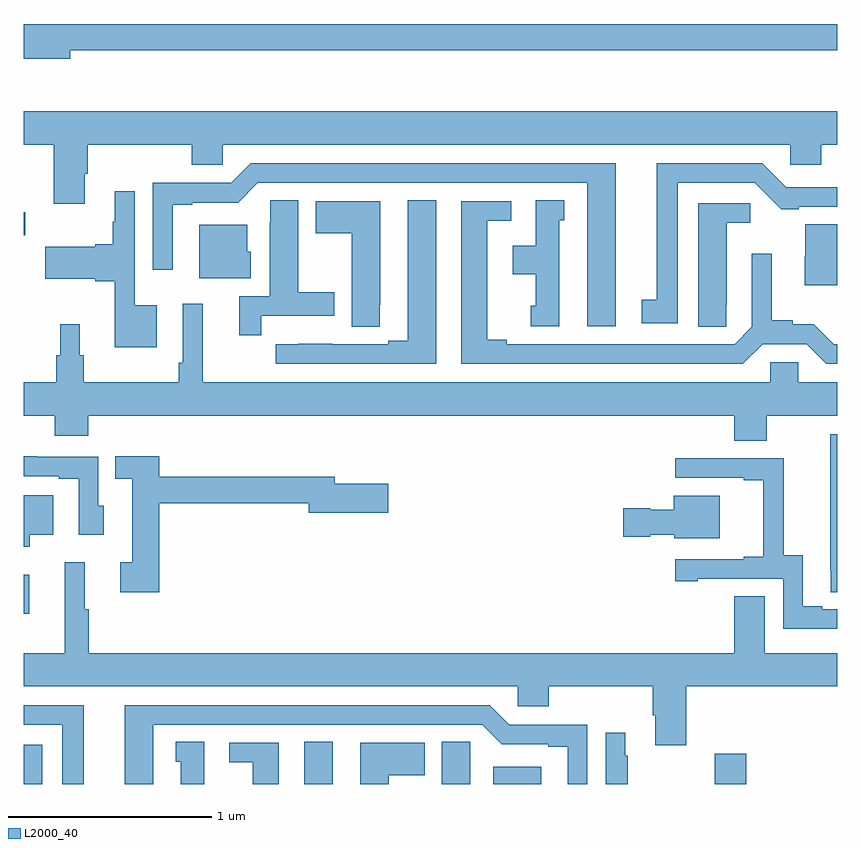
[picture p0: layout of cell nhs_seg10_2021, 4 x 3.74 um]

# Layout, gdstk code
import gdstk
lib = gdstk.Library(unit=1e-6, precision=1e-09)
def R(c, l, rs):  # rectangles x0, y0, x1, y1
    for r in rs: c.add(gdstk.rectangle(r[:2], r[2:], *l))
def P(c, l, *ps):  # polygons
    for p in ps: c.add(gdstk.Polygon(p, *l))
L2000_40 = (2000, 40)

nhs_seg10_2021 = lib.new_cell('nhs_seg10_2021')
R(nhs_seg10_2021, L2000_40, [(217,1302.5,217.09,1302.693), (218.378,1302.5,218.518,1302.707), (219.308,1302.5,219.544,1302.586), (220.399,1302.5,220.553,1302.649), (217,1303.338,217.027,1303.528), (217,1305.2,217.008,1305.313)])
P(nhs_seg10_2021, L2000_40, [(217.228,1306.11),(221,1306.11),(221,1306.238),(217,1306.238),(217,1306.067),(217.228,1306.067)],
  [(217.3,1305.502),(217.313,1305.502),(217.313,1305.644),(217.826,1305.644),(217.826,1305.546),(217.977,1305.546),(217.977,1305.644),(220.77,1305.644),(220.77,1305.546),(220.922,1305.546),(220.922,1305.644),(221,1305.644),(221,1305.808),(217,1305.808),(217,1305.644),(217.148,1305.644),(217.148,1305.354),(217.3,1305.354)],
  [(220.216,1305.456),(220.596,1305.456),(220.724,1305.328),(220.81,1305.328),(220.81,1305.339),(221,1305.339),(221,1305.435),(220.749,1305.435),(220.632,1305.552),(220.112,1305.552),(220.112,1304.882),(220.038,1304.882),(220.038,1304.766),(220.216,1304.766)],
  [(219.91,1305.552),(218.115,1305.552),(218.019,1305.456),(217.635,1305.456),(217.635,1305.03),(217.732,1305.03),(217.732,1305.348),(217.828,1305.348),(217.828,1305.36),(218.055,1305.36),(218.151,1305.456),(219.77,1305.456),(219.77,1304.751),(219.91,1304.751)],
  [(217.654,1304.854),(217.545,1304.854),(217.545,1305.415),(217.448,1305.415),(217.448,1305.266),(217.437,1305.266),(217.437,1305.155),(217.352,1305.155),(217.352,1305.142),(217.104,1305.142),(217.104,1304.984),(217.352,1304.984),(217.352,1304.972),(217.448,1304.972),(217.448,1304.648),(217.654,1304.648)],
  [(218.168,1304.802),(218.527,1304.802),(218.527,1304.919),(218.35,1304.919),(218.35,1305.371),(218.211,1305.371),(218.211,1305.26),(218.21,1305.26),(218.21,1304.898),(218.06,1304.898),(218.06,1304.706),(218.168,1304.706)],
  [(219.028,1305.371),(218.888,1305.371),(218.888,1304.679),(218.792,1304.679),(218.792,1304.664),(218.516,1304.664),(218.516,1304.665),(218.35,1304.665),(218.35,1304.664),(218.238,1304.664),(218.238,1304.568),(219.028,1304.568)],
  [(219.634,1305.273),(219.658,1305.273),(219.658,1305.371),(219.518,1305.371),(219.518,1305.148),(219.404,1305.148),(219.404,1305.008),(219.518,1305.008),(219.518,1304.853),(219.494,1304.853),(219.494,1304.751),(219.634,1304.751)],
  [(218.751,1304.857),(218.752,1304.857),(218.752,1305.367),(218.435,1305.367),(218.435,1305.208),(218.612,1305.208),(218.612,1304.749),(218.751,1304.749)],
  [(220.633,1304.664),(220.851,1304.664),(220.947,1304.568),(221,1304.568),(221,1304.664),(220.983,1304.664),(220.886,1304.762),(220.782,1304.762),(220.782,1304.78),(220.678,1304.78),(220.678,1305.109),(220.581,1305.109),(220.581,1304.748),(220.497,1304.664),(219.376,1304.664),(219.376,1304.684),(219.28,1304.684),(219.28,1305.27),(219.397,1305.27),(219.397,1305.366),(219.152,1305.366),(219.152,1304.568),(220.537,1304.568)],
  [(220.455,1304.857),(220.456,1304.857),(220.456,1305.26),(220.573,1305.26),(220.573,1305.357),(220.316,1305.357),(220.316,1304.749),(220.455,1304.749)],
  [(221,1305.254),(220.843,1305.254),(220.843,1305.096),(220.841,1305.096),(220.841,1304.952),(221,1304.952)],
  [(218.116,1305.117),(218.098,1305.117),(218.098,1305.25),(217.862,1305.25),(217.862,1304.987),(218.116,1304.987)],
  [(220.653,1304.312),(221,1304.312),(221,1304.476),(220.809,1304.476),(220.809,1304.574),(220.671,1304.574),(220.671,1304.476),(217.88,1304.476),(217.88,1304.863),(217.782,1304.863),(217.782,1304.572),(217.762,1304.572),(217.762,1304.476),(217.295,1304.476),(217.295,1304.61),(217.276,1304.61),(217.276,1304.761),(217.178,1304.761),(217.178,1304.61),(217.159,1304.61),(217.159,1304.476),(217,1304.476),(217,1304.312),(217.151,1304.312),(217.151,1304.213),(217.316,1304.213),(217.316,1304.312),(220.493,1304.312),(220.493,1304.188),(220.653,1304.188)],
  [(221,1304.22),(220.967,1304.22),(220.967,1303.552),(220.968,1303.552),(220.968,1303.444),(221,1303.444)],
  [(217.393,1303.869),(217.365,1303.869),(217.365,1304.109),(217.067,1304.109),(217.067,1304.111),(217,1304.111),(217,1304.013),(217.172,1304.013),(217.172,1304.001),(217.269,1304.001),(217.269,1303.725),(217.393,1303.725)],
  [(217.667,1303.882),(218.402,1303.882),(218.402,1303.835),(218.791,1303.835),(218.791,1303.977),(218.53,1303.977),(218.53,1304.011),(217.667,1304.011),(217.667,1304.111),(217.45,1304.111),(217.45,1304.001),(217.532,1304.001),(217.532,1303.59),(217.473,1303.59),(217.473,1303.442),(217.667,1303.442)],
  [(221,1303.359),(220.927,1303.359),(220.927,1303.374),(220.831,1303.374),(220.831,1303.625),(220.737,1303.625),(220.737,1304.103),(220.203,1304.103),(220.203,1304.007),(220.541,1304.007),(220.541,1303.995),(220.637,1303.995),(220.637,1303.618),(220.541,1303.618),(220.541,1303.605),(220.203,1303.605),(220.203,1303.497),(220.315,1303.497),(220.315,1303.509),(220.734,1303.509),(220.734,1303.263),(221,1303.263)],
  [(217.03,1303.727),(217.144,1303.727),(217.144,1303.921),(217,1303.921),(217,1303.667),(217.03,1303.667)],
  [(220.423,1303.918),(220.196,1303.918),(220.196,1303.849),(220.08,1303.849),(220.08,1303.857),(219.948,1303.857),(219.948,1303.715),(220.08,1303.715),(220.08,1303.727),(220.2,1303.727),(220.2,1303.709),(220.423,1303.709)],
  [(220.259,1302.98),(221,1302.98),(221,1303.144),(220.645,1303.144),(220.645,1303.424),(220.493,1303.424),(220.493,1303.144),(217.319,1303.144),(217.319,1303.359),(217.3,1303.359),(217.3,1303.591),(217.202,1303.591),(217.202,1303.144),(217,1303.144),(217,1302.98),(219.429,1302.98),(219.429,1302.882),(219.581,1302.882),(219.581,1302.98),(220.094,1302.98),(220.094,1302.838),(220.106,1302.838),(220.106,1302.69),(220.259,1302.69)],
  [(217.294,1302.888),(217,1302.888),(217,1302.792),(217.19,1302.792),(217.19,1302.5),(217.294,1302.5)],
  [(217.636,1302.792),(219.255,1302.792),(219.351,1302.696),(219.578,1302.696),(219.578,1302.684),(219.674,1302.684),(219.674,1302.5),(219.771,1302.5),(219.771,1302.792),(219.387,1302.792),(219.291,1302.888),(217.496,1302.888),(217.496,1302.5),(217.636,1302.5)],
  [(219.97,1302.638),(219.958,1302.638),(219.958,1302.751),(219.861,1302.751),(219.861,1302.5),(219.97,1302.5)],
  [(217.888,1302.707),(217.748,1302.707),(217.748,1302.609),(217.772,1302.609),(217.772,1302.5),(217.888,1302.5)],
  [(219.196,1302.596),(219.195,1302.596),(219.195,1302.707),(219.056,1302.707),(219.056,1302.5),(219.196,1302.5)],
  [(218.794,1302.544),(218.971,1302.544),(218.971,1302.703),(218.654,1302.703),(218.654,1302.5),(218.794,1302.5)],
  [(218.254,1302.702),(218.01,1302.702),(218.01,1302.606),(218.126,1302.606),(218.126,1302.5),(218.254,1302.5)])

lib.write_gds('nhs_seg10_2021.gds')
